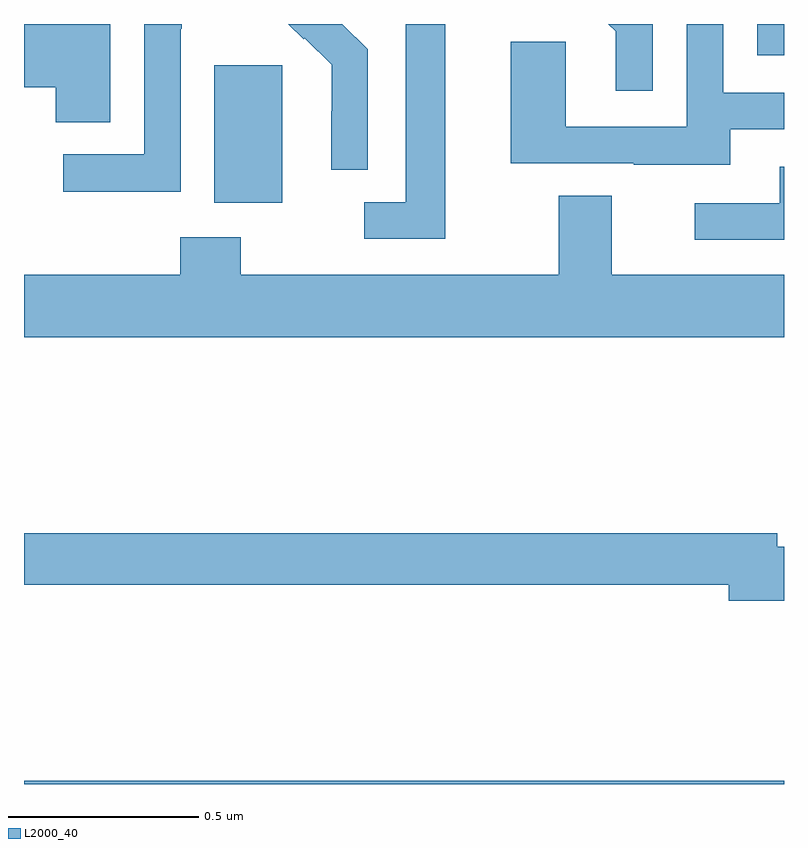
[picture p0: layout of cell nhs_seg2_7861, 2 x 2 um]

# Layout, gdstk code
import gdstk
lib = gdstk.Library(unit=1e-6, precision=1e-09)
def R(c, l, rs):  # rectangles x0, y0, x1, y1
    for r in rs: c.add(gdstk.rectangle(r[:2], r[2:], *l))
def P(c, l, *ps):  # polygons
    for p in ps: c.add(gdstk.Polygon(p, *l))
L2000_40 = (2000, 40)

nhs_seg2_7861 = lib.new_cell('nhs_seg2_7861')
R(nhs_seg2_7861, L2000_40, [(209,639.8,211,639.808), (209.501,641.33,209.68,641.691), (210.93,641.718,211,641.8)])
P(nhs_seg2_7861, L2000_40, [(210.109,641.8),(210.005,641.8),(210.005,641.331),(209.895,641.331),(209.895,641.235),(210.109,641.235)],
  [(210.654,641.8),(210.538,641.8),(210.557,641.781),(210.557,641.625),(210.654,641.625)],
  [(209.412,641.788),(209.415,641.788),(209.415,641.8),(209.316,641.8),(209.316,641.457),(209.103,641.457),(209.103,641.359),(209.412,641.359)],
  [(209.904,641.734),(209.838,641.8),(209.696,641.8),(209.736,641.76),(209.739,641.763),(209.81,641.693),(209.81,641.57),(209.808,641.57),(209.808,641.416),(209.904,641.416)],
  [(210.859,641.523),(211,641.523),(211,641.619),(210.84,641.619),(210.84,641.8),(210.744,641.8),(210.744,641.529),(210.426,641.529),(210.426,641.753),(210.281,641.753),(210.281,641.433),(210.605,641.433),(210.605,641.429),(210.859,641.429)],
  [(209.227,641.8),(209,641.8),(209,641.633),(209.084,641.633),(209.084,641.542),(209.227,641.542)],
  [(211,641.424),(210.989,641.424),(210.989,641.328),(210.765,641.328),(210.765,641.232),(211,641.232)],
  [(211,641.14),(210.547,641.14),(210.547,641.348),(210.407,641.348),(210.407,641.14),(209.571,641.14),(209.571,641.239),(209.411,641.239),(209.411,641.14),(209,641.14),(209,640.976),(211,640.976)],
  [(211,640.424),(210.982,640.424),(210.982,640.46),(209,640.46),(209,640.324),(210.854,640.324),(210.854,640.282),(211,640.282)])

lib.write_gds('nhs_seg2_7861.gds')
